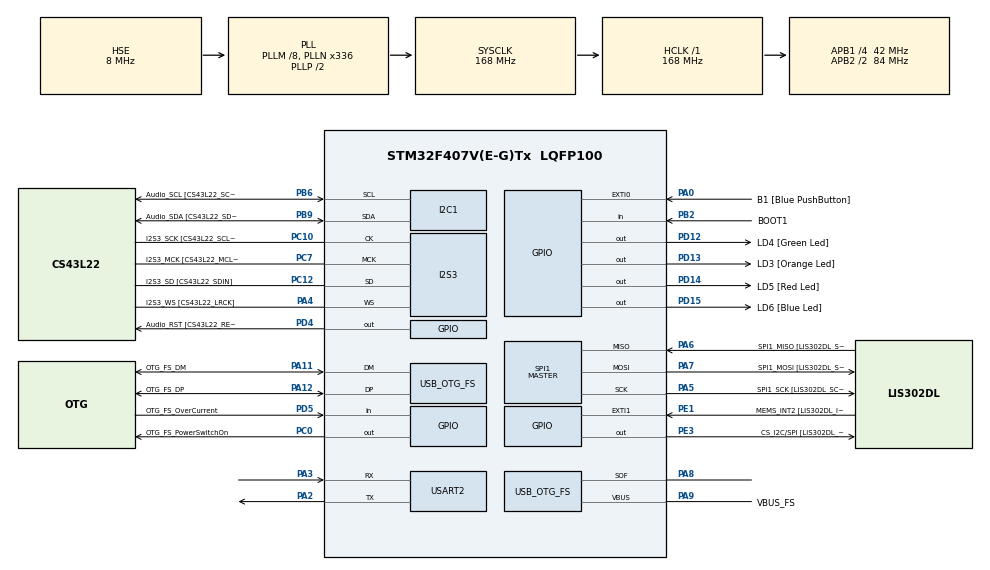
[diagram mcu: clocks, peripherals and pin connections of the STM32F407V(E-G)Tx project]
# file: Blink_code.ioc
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FATFS._FS_EXFAT=1
FATFS._MAX_SS=4096
FATFS._USE_LFN=1
I2S3.AudioFreq-Half_Duplex_Master=I2S_AUDIOFREQ_96K
I2S3.ErrorAudioFreq=-2.34 %
I2S3.ErrorAudioFreq-Half_Duplex_Master=0.8 %
I2S3.FullDuplexMode=I2S_FULLDUPLEXMODE_DISABLE
I2S3.Instance=SPI$Index
I2S3.RealAudioFreq=93.75 KHz
I2S3.RealAudioFreq-Half_Duplex_Master=96.774 KHz
I2S3.VirtualMode=I2S_MODE_MASTER
Mcu.Family=STM32F4
Mcu.Name=STM32F407V(E-G)Tx
Mcu.Package=LQFP100
NVIC.OTG_FS_IRQn=true\:0\:0\:false\:false\:true\:true\:true
NVIC.PriorityGroup=NVIC_PRIORITYGROUP_0
PA0-WKUP.GPIO_Label=B1 [Blue PushButton]
PA0-WKUP.GPIO_ModeDefaultEXTI=GPIO_MODE_EVT_RISING
PA0-WKUP.GPIO_PuPd=GPIO_NOPULL
PA0-WKUP.Signal=GPXTI0
PA10.GPIO_Label=OTG_FS_ID
PA10.GPIO_Mode=GPIO_MODE_AF_PP
PA10.GPIO_PuPd=GPIO_NOPULL
PA10.GPIO_Speed=GPIO_SPEED_FREQ_LOW
PA10.Signal=USB_OTG_FS_ID
PA11.GPIO_Label=OTG_FS_DM
PA11.GPIO_Mode=GPIO_MODE_AF_PP
PA11.GPIO_PuPd=GPIO_NOPULL
PA11.GPIO_Speed=GPIO_SPEED_FREQ_LOW
PA11.Mode=Host_Only
PA11.Signal=USB_OTG_FS_DM
PA12.GPIO_Label=OTG_FS_DP
PA12.GPIO_Mode=GPIO_MODE_AF_PP
PA12.GPIO_PuPd=GPIO_NOPULL
PA12.GPIO_Speed=GPIO_SPEED_FREQ_LOW
PA12.Mode=Host_Only
PA12.Signal=USB_OTG_FS_DP
PA13.GPIO_Label=SWDIO
PA13.Mode=Serial_Wire
PA13.Signal=SYS_JTMS-SWDIO
PA14.GPIO_Label=SWCLK
PA14.Mode=Serial_Wire
PA14.Signal=SYS_JTCK-SWCLK
PA2.Mode=Asynchronous
PA2.Signal=USART2_TX
PA3.Mode=Asynchronous
PA3.Signal=USART2_RX
PA4.GPIO_Label=I2S3_WS [CS43L22_LRCK]
PA4.GPIO_Mode=GPIO_MODE_AF_PP
PA4.GPIO_PuPd=GPIO_NOPULL
PA4.GPIO_Speed=GPIO_SPEED_FREQ_LOW
PA4.Mode=Half_Duplex_Master
PA4.Signal=I2S3_WS
PA5.GPIO_Label=SPI1_SCK [LIS302DL_SCL/SPC]
PA5.GPIO_Mode=GPIO_MODE_AF_PP
PA5.GPIO_PuPd=GPIO_NOPULL
PA5.GPIO_Speed=GPIO_SPEED_FREQ_LOW
PA5.Mode=Full_Duplex_Master
PA5.Signal=SPI1_SCK
PA6.GPIO_Label=SPI1_MISO [LIS302DL_SDO]
PA6.GPIO_Mode=GPIO_MODE_AF_PP
PA6.GPIO_PuPd=GPIO_NOPULL
PA6.GPIO_Speed=GPIO_SPEED_FREQ_LOW
PA6.Mode=Full_Duplex_Master
PA6.Signal=SPI1_MISO
PA7.GPIO_Label=SPI1_MOSI [LIS302DL_SDA/SDI/SDO]
PA7.GPIO_Mode=GPIO_MODE_AF_PP
PA7.GPIO_PuPd=GPIO_NOPULL
PA7.GPIO_Speed=GPIO_SPEED_FREQ_LOW
PA7.Mode=Full_Duplex_Master
PA7.Signal=SPI1_MOSI
PA8.Mode=Activate_SOF_FS
PA8.Signal=USB_OTG_FS_SOF
PA9.GPIO_Label=VBUS_FS
PA9.GPIO_Mode=GPIO_MODE_INPUT
PA9.GPIO_PuPd=GPIO_NOPULL
PA9.Mode=Activate_VBUS
PA9.Signal=USB_OTG_FS_VBUS
PB10.GPIO_Label=CLK_IN [MP45DT02_CLK]
PB10.GPIO_Mode=GPIO_MODE_AF_PP
PB10.GPIO_PuPd=GPIO_NOPULL
PB10.GPIO_Speed=GPIO_SPEED_FREQ_LOW
PB10.Signal=I2S2_CK
PB2.GPIO_Label=BOOT1
PB2.GPIO_Mode=GPIO_MODE_INPUT
PB2.GPIO_PuPd=GPIO_NOPULL
PB2.Signal=GPIO_Input
PB3.GPIO_Label=SWO
PB3.Signal=SYS_JTDO-SWO
PB6.GPIO_Label=Audio_SCL [CS43L22_SCL]
PB6.GPIO_Mode=GPIO_MODE_AF_OD
PB6.GPIO_PuPd=GPIO_NOPULL
PB6.GPIO_Speed=GPIO_SPEED_FREQ_LOW
PB6.Mode=I2C
PB6.Signal=I2C1_SCL
PB9.GPIO_Label=Audio_SDA [CS43L22_SDA]
PB9.GPIO_Mode=GPIO_MODE_AF_OD
PB9.GPIO_PuPd=GPIO_NOPULL
PB9.GPIO_Speed=GPIO_SPEED_FREQ_LOW
PB9.Mode=I2C
PB9.Signal=I2C1_SDA
PC0.GPIO_Label=OTG_FS_PowerSwitchOn
PC0.GPIO_PuPd=GPIO_NOPULL
PC0.GPIO_Speed=GPIO_SPEED_FREQ_LOW
PC0.PinState=GPIO_PIN_SET
PC0.Signal=GPIO_Output
PC10.GPIO_Label=I2S3_SCK [CS43L22_SCLK]
PC10.GPIO_Mode=GPIO_MODE_AF_PP
PC10.GPIO_PuPd=GPIO_NOPULL
PC10.GPIO_Speed=GPIO_SPEED_FREQ_LOW
PC10.Mode=Half_Duplex_Master
PC10.Signal=I2S3_CK
PC12.GPIO_Label=I2S3_SD [CS43L22_SDIN]
PC12.GPIO_Mode=GPIO_MODE_AF_PP
PC12.GPIO_PuPd=GPIO_NOPULL
PC12.GPIO_Speed=GPIO_SPEED_FREQ_LOW
PC12.Mode=Half_Duplex_Master
PC12.Signal=I2S3_SD
PC14-OSC32_IN.GPIO_Label=PC14-OSC32_IN
PC14-OSC32_IN.Mode=LSE-External-Oscillator
PC14-OSC32_IN.Signal=RCC_OSC32_IN
PC15-OSC32_OUT.GPIO_Label=PC15-OSC32_OUT
PC15-OSC32_OUT.Mode=LSE-External-Oscillator
PC15-OSC32_OUT.Signal=RCC_OSC32_OUT
PC3.GPIO_Label=PDM_OUT [MP45DT02_DOUT]
PC3.GPIO_Mode=GPIO_MODE_AF_PP
PC3.GPIO_PuPd=GPIO_NOPULL
PC3.GPIO_Speed=GPIO_SPEED_FREQ_LOW
PC3.Signal=I2S2_SD
PC7.GPIO_Label=I2S3_MCK [CS43L22_MCLK]
PC7.GPIO_Mode=GPIO_MODE_AF_PP
PC7.GPIO_PuPd=GPIO_NOPULL
PC7.GPIO_Speed=GPIO_SPEED_FREQ_LOW
PC7.Mode=Master_Clock_Activated
PC7.Signal=I2S3_MCK
PD12.GPIO_Label=LD4 [Green Led]
PD12.GPIO_PuPd=GPIO_NOPULL
PD12.GPIO_Speed=GPIO_SPEED_FREQ_LOW
PD12.Signal=GPIO_Output
PD13.GPIO_Label=LD3 [Orange Led]
PD13.GPIO_PuPd=GPIO_NOPULL
PD13.GPIO_Speed=GPIO_SPEED_FREQ_LOW
PD13.Signal=GPIO_Output
PD14.GPIO_Label=LD5 [Red Led]
PD14.GPIO_PuPd=GPIO_NOPULL
PD14.GPIO_Speed=GPIO_SPEED_FREQ_LOW
PD14.Signal=GPIO_Output
PD15.GPIO_Label=LD6 [Blue Led]
PD15.GPIO_PuPd=GPIO_NOPULL
PD15.GPIO_Speed=GPIO_SPEED_FREQ_LOW
PD15.Signal=GPIO_Output
PD4.GPIO_Label=Audio_RST [CS43L22_RESET]
PD4.GPIO_PuPd=GPIO_NOPULL
PD4.GPIO_Speed=GPIO_SPEED_FREQ_LOW
PD4.Signal=GPIO_Output
PD5.GPIO_Label=OTG_FS_OverCurrent
PD5.GPIO_Mode=GPIO_MODE_INPUT
PD5.GPIO_PuPd=GPIO_NOPULL
PD5.Signal=GPIO_Input
PE1.GPIO_Label=MEMS_INT2 [LIS302DL_INT2]
PE1.GPIO_ModeDefaultEXTI=GPIO_MODE_EVT_RISING
PE1.GPIO_PuPd=GPIO_NOPULL
PE1.Signal=GPXTI1
PE3.GPIO_Label=CS_I2C/SPI [LIS302DL_CS_I2C/SPI]
PE3.GPIO_PuPd=GPIO_NOPULL
PE3.GPIO_Speed=GPIO_SPEED_FREQ_LOW
PE3.Signal=GPIO_Output
PH0-OSC_IN.GPIO_Label=PH0-OSC_IN
PH0-OSC_IN.Mode=HSE-External-Oscillator
PH0-OSC_IN.Signal=RCC_OSC_IN
PH1-OSC_OUT.GPIO_Label=PH1-OSC_OUT
PH1-OSC_OUT.Mode=HSE-External-Oscillator
PH1-OSC_OUT.Signal=RCC_OSC_OUT
ProjectManager.HeapSize=0x200
ProjectManager.StackSize=0x400
ProjectManager.TargetToolchain=SW4STM32
RCC.48MHZClocksFreq_Value=48000000
RCC.AHBFreq_Value=168000000
RCC.APB1CLKDivider=RCC_HCLK_DIV4
RCC.APB1Freq_Value=42000000
RCC.APB1TimFreq_Value=84000000
RCC.APB2CLKDivider=RCC_HCLK_DIV2
RCC.APB2Freq_Value=84000000
RCC.APB2TimFreq_Value=168000000
RCC.CortexFreq_Value=168000000
RCC.HCLKFreq_Value=168000000
RCC.HSE_VALUE=8000000
RCC.HSI_VALUE=16000000
RCC.PLLM=8
RCC.PLLN=336
RCC.PLLQ=7
RCC.SYSCLKFreq_VALUE=168000000
RCC.SYSCLKSource=RCC_SYSCLKSOURCE_PLLCLK
RCC.VCOOutputFreq_Value=336000000
SPI1.BaudRatePrescaler-Full_Duplex_Master=SPI_BAUDRATEPRESCALER_2
SPI1.CalculateBaudRate-Full_Duplex_Master=42.0 MBits/s
SPI1.Direction=SPI_DIRECTION_2LINES
SPI1.Mode=SPI_MODE_MASTER
SPI1.Mode-Full_Duplex_Master=SPI_MODE_MASTER
SPI1.VirtualType=VM_MASTER
USART2.VirtualMode=VM_ASYNC
USB_HOST.BSP.number=1
USB_HOST.USBH_HandleTypeDef-MSC_FS=hUsbHostFS
USB_HOST.VirtualModeFS=Msc
USB_HOST0.BSP.STBoard=false
USB_HOST0.BSP.api=Unknown
USB_HOST0.BSP.i2caddr=0
USB_HOST0.BSP.i2creg=0
USB_HOST0.BSP.instance=PC0
USB_HOST0.BSP.ip=GPIO
USB_HOST0.BSP.mode=Output
USB_HOST0.BSP.name=Drive_VBUS_FS
USB_HOST0.BSP.solution=PC0
USB_OTG_FS.VirtualMode=Host_Only
USB_OTG_FS.phy_itface=HCD_PHY_EMBEDDED
VP_FATFS_VS_USB.Mode=USB
VP_USB_HOST_VS_USB_HOST_MSC_FS.Mode=MSC_FS
board=STM32F407G-DISC1

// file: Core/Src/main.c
/* USER CODE BEGIN Header */
/**
  ******************************************************************************
  * @file           : main.c
  * @brief          : Main program body
  ******************************************************************************
  * @attention
  *
  * <h2><center>&copy; Copyright (c) 2021 STMicroelectronics.
  * All rights reserved.</center></h2>
  *
  * This software component is licensed by ST under Ultimate Liberty license
  * SLA0044, the "License"; You may not use this file except in compliance with
  * the License. You may obtain a copy of the License at:
  *                             www.st.com/SLA0044
  *
  ******************************************************************************
  */
/* USER CODE END Header */
#include "main.h"
#include "fatfs.h"
#include "usb_host.h"
#include "File_Handling.h"
#include "systick_timer.h"

I2C_HandleTypeDef hi2c1;

I2S_HandleTypeDef hi2s3;

SPI_HandleTypeDef hspi1;

UART_HandleTypeDef huart2;

void SystemClock_Config(void);
static void MX_GPIO_Init(void);
static void MX_I2C1_Init(void);
static void MX_I2S3_Init(void);
static void MX_SPI1_Init(void);
static void MX_USART2_UART_Init(void);
void MX_USB_HOST_Process(void);

/* USER CODE BEGIN 0 */
#define FLASH_SEC2_BASE_ADDRESS 0x08010000
void bootloader_jump_user_app(void);
extern int timeTimer = 0;
/* USER CODE END 0 */

int main(void)
{

  /* MCU Configuration--------------------------------------------------------*/

  /* Reset of all peripherals, Initializes the Flash interface and the Systick. */
  HAL_Init();

  /* Configure the system clock */
  SystemClock_Config();

  /* Initialize all configured peripherals */
  MX_GPIO_Init();
  MX_I2C1_Init();
  MX_I2S3_Init();
  MX_SPI1_Init();
  MX_USB_HOST_Init();
  MX_USART2_UART_Init();
  MX_FATFS_Init();
  /* USER CODE BEGIN 2 */
  startTimer(&timeTimer,10000,false);
  /* USER CODE END 2 */
int i=0;
  /* Infinite loop */
  while (1)
  {
    MX_USB_HOST_Process();

    /* USER CODE BEGIN 3 */
//    for(int i=0;i<10000;i++){
//    	for(int j=0;j<10000;j++){}
//    }
//    //for(int i=0; i< 10 ;i++){
    	HAL_GPIO_TogglePin(GPIOD,GPIO_PIN_14);
    	HAL_Delay(10);
// //   	usb.connected = 0;
//   // }
//    if(usb.connected != 1)
//    {
//    	HAL_GPIO_TogglePin(GPIOD,GPIO_PIN_12);
// //   	bootloader_jump_user_app();
//    }

	if(isTimerComplete(timeTimer))
	{
		stopTimer(timeTimer);
		HAL_GPIO_TogglePin(GPIOD,GPIO_PIN_12);
		if(usb.connected != 1){
		bootloader_jump_user_app();
		}
	//	break;
	}
  }
  /* USER CODE END 3 */
}

void SystemClock_Config(void)
{
  RCC_OscInitTypeDef RCC_OscInitStruct = {0};
  RCC_ClkInitTypeDef RCC_ClkInitStruct = {0};
  RCC_PeriphCLKInitTypeDef PeriphClkInitStruct = {0};

  /** Configure the main internal regulator output voltage
  */
  __HAL_RCC_PWR_CLK_ENABLE();
  __HAL_PWR_VOLTAGESCALING_CONFIG(PWR_REGULATOR_VOLTAGE_SCALE1);
  /** Initializes the RCC Oscillators according to the specified parameters
  * in the RCC_OscInitTypeDef structure.
  */
  RCC_OscInitStruct.OscillatorType = RCC_OSCILLATORTYPE_HSE;
  RCC_OscInitStruct.HSEState = RCC_HSE_ON;
  RCC_OscInitStruct.PLL.PLLState = RCC_PLL_ON;
  RCC_OscInitStruct.PLL.PLLSource = RCC_PLLSOURCE_HSE;
  RCC_OscInitStruct.PLL.PLLM = 8;
  RCC_OscInitStruct.PLL.PLLN = 336;
  RCC_OscInitStruct.PLL.PLLP = RCC_PLLP_DIV2;
  RCC_OscInitStruct.PLL.PLLQ = 7;
  if (HAL_RCC_OscConfig(&RCC_OscInitStruct) != HAL_OK)
  {
    Error_Handler();
  }
  /** Initializes the CPU, AHB and APB buses clocks
  */
  RCC_ClkInitStruct.ClockType = RCC_CLOCKTYPE_HCLK|RCC_CLOCKTYPE_SYSCLK
                              |RCC_CLOCKTYPE_PCLK1|RCC_CLOCKTYPE_PCLK2;
  RCC_ClkInitStruct.SYSCLKSource = RCC_SYSCLKSOURCE_PLLCLK;
  RCC_ClkInitStruct.AHBCLKDivider = RCC_SYSCLK_DIV1;
  RCC_ClkInitStruct.APB1CLKDivider = RCC_HCLK_DIV4;
  RCC_ClkInitStruct.APB2CLKDivider = RCC_HCLK_DIV2;

  if (HAL_RCC_ClockConfig(&RCC_ClkInitStruct, FLASH_LATENCY_5) != HAL_OK)
  {
    Error_Handler();
  }
  PeriphClkInitStruct.PeriphClockSelection = RCC_PERIPHCLK_I2S;
  PeriphClkInitStruct.PLLI2S.PLLI2SN = 192;
  PeriphClkInitStruct.PLLI2S.PLLI2SR = 2;
  if (HAL_RCCEx_PeriphCLKConfig(&PeriphClkInitStruct) != HAL_OK)
  {
    Error_Handler();
  }
}

static void MX_I2C1_Init(void)
{

  hi2c1.Instance = I2C1;
  hi2c1.Init.ClockSpeed = 100000;
  hi2c1.Init.DutyCycle = I2C_DUTYCYCLE_2;
  hi2c1.Init.OwnAddress1 = 0;
  hi2c1.Init.AddressingMode = I2C_ADDRESSINGMODE_7BIT;
  hi2c1.Init.DualAddressMode = I2C_DUALADDRESS_DISABLE;
  hi2c1.Init.OwnAddress2 = 0;
  hi2c1.Init.GeneralCallMode = I2C_GENERALCALL_DISABLE;
  hi2c1.Init.NoStretchMode = I2C_NOSTRETCH_DISABLE;
  if (HAL_I2C_Init(&hi2c1) != HAL_OK)
  {
    Error_Handler();
  }

}

static void MX_I2S3_Init(void)
{

  hi2s3.Instance = SPI3;
  hi2s3.Init.Mode = I2S_MODE_MASTER_TX;
  hi2s3.Init.Standard = I2S_STANDARD_PHILIPS;
  hi2s3.Init.DataFormat = I2S_DATAFORMAT_16B;
  hi2s3.Init.MCLKOutput = I2S_MCLKOUTPUT_ENABLE;
  hi2s3.Init.AudioFreq = I2S_AUDIOFREQ_96K;
  hi2s3.Init.CPOL = I2S_CPOL_LOW;
  hi2s3.Init.ClockSource = I2S_CLOCK_PLL;
  hi2s3.Init.FullDuplexMode = I2S_FULLDUPLEXMODE_DISABLE;
  if (HAL_I2S_Init(&hi2s3) != HAL_OK)
  {
    Error_Handler();
  }

}

static void MX_SPI1_Init(void)
{

  /* SPI1 parameter configuration*/
  hspi1.Instance = SPI1;
  hspi1.Init.Mode = SPI_MODE_MASTER;
  hspi1.Init.Direction = SPI_DIRECTION_2LINES;
  hspi1.Init.DataSize = SPI_DATASIZE_8BIT;
  hspi1.Init.CLKPolarity = SPI_POLARITY_LOW;
  hspi1.Init.CLKPhase = SPI_PHASE_1EDGE;
  hspi1.Init.NSS = SPI_NSS_SOFT;
  hspi1.Init.BaudRatePrescaler = SPI_BAUDRATEPRESCALER_2;
  hspi1.Init.FirstBit = SPI_FIRSTBIT_MSB;
  hspi1.Init.TIMode = SPI_TIMODE_DISABLE;
  hspi1.Init.CRCCalculation = SPI_CRCCALCULATION_DISABLE;
  hspi1.Init.CRCPolynomial = 10;
  if (HAL_SPI_Init(&hspi1) != HAL_OK)
  {
    Error_Handler();
  }

}

static void MX_USART2_UART_Init(void)
{

  huart2.Instance = USART2;
  huart2.Init.BaudRate = 115200;
  huart2.Init.WordLength = UART_WORDLENGTH_8B;
  huart2.Init.StopBits = UART_STOPBITS_1;
  huart2.Init.Parity = UART_PARITY_NONE;
  huart2.Init.Mode = UART_MODE_TX_RX;
  huart2.Init.HwFlowCtl = UART_HWCONTROL_NONE;
  huart2.Init.OverSampling = UART_OVERSAMPLING_16;
  if (HAL_UART_Init(&huart2) != HAL_OK)
  {
    Error_Handler();
  }

}

static void MX_GPIO_Init(void)
{
  GPIO_InitTypeDef GPIO_InitStruct = {0};

  /* GPIO Ports Clock Enable */
  __HAL_RCC_GPIOE_CLK_ENABLE();
  __HAL_RCC_GPIOC_CLK_ENABLE();
  __HAL_RCC_GPIOH_CLK_ENABLE();
  __HAL_RCC_GPIOA_CLK_ENABLE();
  __HAL_RCC_GPIOB_CLK_ENABLE();
  __HAL_RCC_GPIOD_CLK_ENABLE();

  /*Configure GPIO pin Output Level */
  HAL_GPIO_WritePin(CS_I2C_SPI_GPIO_Port, CS_I2C_SPI_Pin, GPIO_PIN_RESET);

  /*Configure GPIO pin Output Level */
  HAL_GPIO_WritePin(OTG_FS_PowerSwitchOn_GPIO_Port, OTG_FS_PowerSwitchOn_Pin, GPIO_PIN_SET);

  /*Configure GPIO pin Output Level */
  HAL_GPIO_WritePin(GPIOD, LD4_Pin|LD3_Pin|LD5_Pin|LD6_Pin
                          |Audio_RST_Pin, GPIO_PIN_RESET);

  /*Configure GPIO pin : CS_I2C_SPI_Pin */
  GPIO_InitStruct.Pin = CS_I2C_SPI_Pin;
  GPIO_InitStruct.Mode = GPIO_MODE_OUTPUT_PP;
  GPIO_InitStruct.Pull = GPIO_NOPULL;
  GPIO_InitStruct.Speed = GPIO_SPEED_FREQ_LOW;
  HAL_GPIO_Init(CS_I2C_SPI_GPIO_Port, &GPIO_InitStruct);

  /*Configure GPIO pin : OTG_FS_PowerSwitchOn_Pin */
  GPIO_InitStruct.Pin = OTG_FS_PowerSwitchOn_Pin;
  GPIO_InitStruct.Mode = GPIO_MODE_OUTPUT_PP;
  GPIO_InitStruct.Pull = GPIO_NOPULL;
  GPIO_InitStruct.Speed = GPIO_SPEED_FREQ_LOW;
  HAL_GPIO_Init(OTG_FS_PowerSwitchOn_GPIO_Port, &GPIO_InitStruct);

  /*Configure GPIO pin : PDM_OUT_Pin */
  GPIO_InitStruct.Pin = PDM_OUT_Pin;
  GPIO_InitStruct.Mode = GPIO_MODE_AF_PP;
  GPIO_InitStruct.Pull = GPIO_NOPULL;
  GPIO_InitStruct.Speed = GPIO_SPEED_FREQ_LOW;
  GPIO_InitStruct.Alternate = GPIO_AF5_SPI2;
  HAL_GPIO_Init(PDM_OUT_GPIO_Port, &GPIO_InitStruct);

  /*Configure GPIO pin : B1_Pin */
  GPIO_InitStruct.Pin = B1_Pin;
  GPIO_InitStruct.Mode = GPIO_MODE_EVT_RISING;
  GPIO_InitStruct.Pull = GPIO_NOPULL;
  HAL_GPIO_Init(B1_GPIO_Port, &GPIO_InitStruct);

  /*Configure GPIO pin : BOOT1_Pin */
  GPIO_InitStruct.Pin = BOOT1_Pin;
  GPIO_InitStruct.Mode = GPIO_MODE_INPUT;
  GPIO_InitStruct.Pull = GPIO_NOPULL;
  HAL_GPIO_Init(BOOT1_GPIO_Port, &GPIO_InitStruct);

  /*Configure GPIO pin : CLK_IN_Pin */
  GPIO_InitStruct.Pin = CLK_IN_Pin;
  GPIO_InitStruct.Mode = GPIO_MODE_AF_PP;
  GPIO_InitStruct.Pull = GPIO_NOPULL;
  GPIO_InitStruct.Speed = GPIO_SPEED_FREQ_LOW;
  GPIO_InitStruct.Alternate = GPIO_AF5_SPI2;
  HAL_GPIO_Init(CLK_IN_GPIO_Port, &GPIO_InitStruct);

  /*Configure GPIO pins : LD4_Pin LD3_Pin LD5_Pin LD6_Pin
                           Audio_RST_Pin */
  GPIO_InitStruct.Pin = LD4_Pin|LD3_Pin|LD5_Pin|LD6_Pin
                          |Audio_RST_Pin;
  GPIO_InitStruct.Mode = GPIO_MODE_OUTPUT_PP;
  GPIO_InitStruct.Pull = GPIO_NOPULL;
  GPIO_InitStruct.Speed = GPIO_SPEED_FREQ_LOW;
  HAL_GPIO_Init(GPIOD, &GPIO_InitStruct);

  /*Configure GPIO pin : OTG_FS_OverCurrent_Pin */
  GPIO_InitStruct.Pin = OTG_FS_OverCurrent_Pin;
  GPIO_InitStruct.Mode = GPIO_MODE_INPUT;
  GPIO_InitStruct.Pull = GPIO_NOPULL;
  HAL_GPIO_Init(OTG_FS_OverCurrent_GPIO_Port, &GPIO_InitStruct);

  /*Configure GPIO pin : MEMS_INT2_Pin */
  GPIO_InitStruct.Pin = MEMS_INT2_Pin;
  GPIO_InitStruct.Mode = GPIO_MODE_EVT_RISING;
  GPIO_InitStruct.Pull = GPIO_NOPULL;
  HAL_GPIO_Init(MEMS_INT2_GPIO_Port, &GPIO_InitStruct);

}

/* USER CODE BEGIN 4 */
void bootloader_jump_user_app(void)
 {
//	 HAL_UART_Transmit(&huart2,"Jumping from Bootloader to MainApp", 50, 1000);
//	 HAL_Delay(5000);
 	void (*app_reset_handler) (void);

 	uint32_t msp_value = *(volatile uint32_t *)FLASH_SEC2_BASE_ADDRESS;

 	__set_MSP(msp_value);

 	uint32_t resethandler_address = *(volatile uint32_t *)(FLASH_SEC2_BASE_ADDRESS + 4);

 	app_reset_handler = (void*) resethandler_address;

 	app_reset_handler();

 }
/* USER CODE END 4 */

void Error_Handler(void)
{
}

/************************ (C) COPYRIGHT STMicroelectronics *****END OF FILE****/
